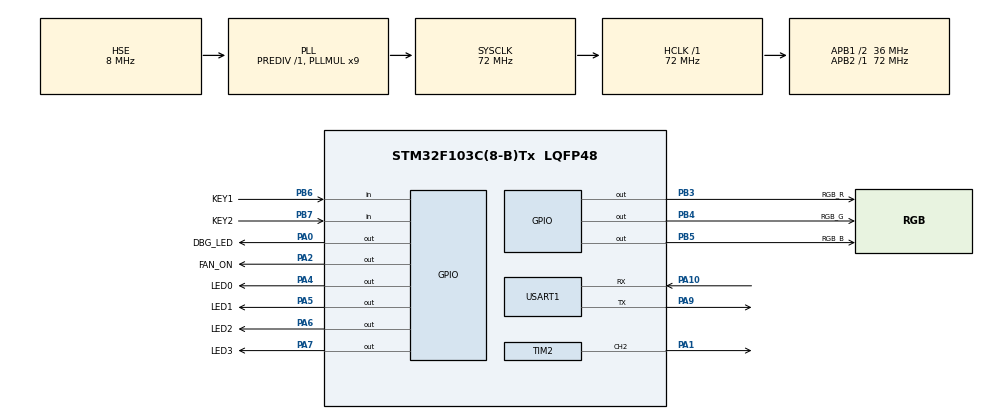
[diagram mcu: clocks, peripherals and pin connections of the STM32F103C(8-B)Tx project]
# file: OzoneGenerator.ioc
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Dma.Request0=USART1_RX
Dma.Request1=USART1_TX
Dma.USART1_RX.0.Direction=DMA_PERIPH_TO_MEMORY
Dma.USART1_RX.0.Instance=DMA1_Channel5
Dma.USART1_RX.0.MemDataAlignment=DMA_MDATAALIGN_BYTE
Dma.USART1_RX.0.MemInc=DMA_MINC_ENABLE
Dma.USART1_RX.0.Mode=DMA_CIRCULAR
Dma.USART1_RX.0.PeriphDataAlignment=DMA_PDATAALIGN_BYTE
Dma.USART1_RX.0.PeriphInc=DMA_PINC_DISABLE
Dma.USART1_RX.0.Priority=DMA_PRIORITY_LOW
Dma.USART1_TX.1.Direction=DMA_MEMORY_TO_PERIPH
Dma.USART1_TX.1.Instance=DMA1_Channel4
Dma.USART1_TX.1.MemDataAlignment=DMA_MDATAALIGN_BYTE
Dma.USART1_TX.1.MemInc=DMA_MINC_ENABLE
Dma.USART1_TX.1.Mode=DMA_NORMAL
Dma.USART1_TX.1.PeriphDataAlignment=DMA_PDATAALIGN_BYTE
Dma.USART1_TX.1.PeriphInc=DMA_PINC_DISABLE
Dma.USART1_TX.1.Priority=DMA_PRIORITY_LOW
FREERTOS.Tasks01=defaultTask,0,128,StartDefaultTask,Default,NULL,Dynamic,NULL,NULL
FREERTOS.configUSE_TIMERS=1
Mcu.Family=STM32F1
Mcu.Name=STM32F103C(8-B)Tx
Mcu.Package=LQFP48
NVIC.DMA1_Channel4_IRQn=true\:5\:0\:false\:false\:true\:true\:false\:true
NVIC.DMA1_Channel5_IRQn=true\:5\:0\:false\:false\:true\:true\:false\:true
NVIC.PriorityGroup=NVIC_PRIORITYGROUP_4
NVIC.TIM1_UP_IRQn=true\:0\:0\:false\:false\:true\:false\:false\:true
NVIC.TimeBase=TIM1_UP_IRQn
NVIC.TimeBaseIP=TIM1
NVIC.USART1_IRQn=true\:5\:0\:false\:false\:true\:true\:true\:true
PA0-WKUP.GPIO_Label=DBG_LED
PA0-WKUP.Signal=GPIO_Output
PA1.Signal=S_TIM2_CH2
PA10.Mode=Asynchronous
PA10.Signal=USART1_RX
PA13.Mode=Serial_Wire
PA13.Signal=SYS_JTMS-SWDIO
PA14.Mode=Serial_Wire
PA14.Signal=SYS_JTCK-SWCLK
PA2.GPIO_Label=FAN_ON
PA2.GPIO_PuPd=GPIO_PULLUP
PA2.Signal=GPIO_Output
PA4.GPIO_Label=LED0
PA4.GPIO_PuPd=GPIO_PULLDOWN
PA4.PinState=GPIO_PIN_SET
PA4.Signal=GPIO_Output
PA5.GPIO_Label=LED1
PA5.GPIO_PuPd=GPIO_PULLDOWN
PA5.PinState=GPIO_PIN_SET
PA5.Signal=GPIO_Output
PA6.GPIO_Label=LED2
PA6.GPIO_PuPd=GPIO_PULLDOWN
PA6.PinState=GPIO_PIN_SET
PA6.Signal=GPIO_Output
PA7.GPIO_Label=LED3
PA7.GPIO_PuPd=GPIO_PULLDOWN
PA7.PinState=GPIO_PIN_SET
PA7.Signal=GPIO_Output
PA9.Mode=Asynchronous
PA9.Signal=USART1_TX
PB3.GPIO_Label=RGB_R
PB3.GPIO_PuPd=GPIO_PULLDOWN
PB3.PinState=GPIO_PIN_SET
PB3.Signal=GPIO_Output
PB4.GPIO_Label=RGB_G
PB4.GPIO_PuPd=GPIO_PULLDOWN
PB4.PinState=GPIO_PIN_SET
PB4.Signal=GPIO_Output
PB5.GPIO_Label=RGB_B
PB5.GPIO_PuPd=GPIO_PULLDOWN
PB5.PinState=GPIO_PIN_SET
PB5.Signal=GPIO_Output
PB6.GPIO_Label=KEY1
PB6.Signal=GPIO_Input
PB7.GPIO_Label=KEY2
PB7.Signal=GPIO_Input
PD0-OSC_IN.Mode=HSE-External-Oscillator
PD0-OSC_IN.Signal=RCC_OSC_IN
PD1-OSC_OUT.Mode=HSE-External-Oscillator
PD1-OSC_OUT.Signal=RCC_OSC_OUT
ProjectManager.HeapSize=0x200
ProjectManager.StackSize=0x400
ProjectManager.TargetToolchain=MDK-ARM V5
RCC.AHBFreq_Value=72000000
RCC.APB1CLKDivider=RCC_HCLK_DIV2
RCC.APB1Freq_Value=36000000
RCC.APB1TimFreq_Value=72000000
RCC.APB2Freq_Value=72000000
RCC.APB2TimFreq_Value=72000000
RCC.HCLKFreq_Value=72000000
RCC.PLLMUL=RCC_PLL_MUL9
RCC.PLLSourceVirtual=RCC_PLLSOURCE_HSE
RCC.SYSCLKFreq_VALUE=72000000
RCC.SYSCLKSource=RCC_SYSCLKSOURCE_PLLCLK
RCC.USBFreq_Value=72000000
SH.S_TIM2_CH2.0=TIM2_CH2,PWM Generation2 CH2
TIM2.Channel-PWM\ Generation2\ CH2=TIM_CHANNEL_2
TIM2.Period=1000
TIM2.Prescaler=71
USART1.VirtualMode=VM_ASYNC
VP_FREERTOS_VS_CMSIS_V1.Mode=CMSIS_V1
VP_SYS_VS_tim1.Mode=TIM1
board=custom

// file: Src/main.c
/* USER CODE BEGIN Header */
/**
  ******************************************************************************
  * @file           : main.c
  * @brief          : Main program body
  ******************************************************************************
  * @attention
  *
  * <h2><center>&copy; Copyright (c) 2020 STMicroelectronics.
  * All rights reserved.</center></h2>
  *
  * This software component is licensed by ST under Ultimate Liberty license
  * SLA0044, the "License"; You may not use this file except in compliance with
  * the License. You may obtain a copy of the License at:
  *                             www.st.com/SLA0044
  *
  ******************************************************************************
  */
/* USER CODE END Header */

#include "main.h"
#include "cmsis_os.h"
#include "dma.h"
#include "tim.h"
#include "usart.h"
#include "gpio.h"

/* USER CODE BEGIN Includes */
#include "bsp/flash_operate.h"
#include "bsp_task.h"
#include "msg_process_task.h"
#include "system.h"
/* USER CODE END Includes */

void SystemClock_Config(void);
void MX_FREERTOS_Init(void);

int main(void)
{

  /* MCU Configuration--------------------------------------------------------*/

  /* Reset of all peripherals, Initializes the Flash interface and the Systick. */
  HAL_Init();

  /* Configure the system clock */
  SystemClock_Config();

  /* Initialize all configured peripherals */
  MX_GPIO_Init();
  MX_DMA_Init();
  MX_TIM2_Init();
  MX_USART1_UART_Init();
  /* USER CODE BEGIN 2 */
  // 初始化事件�?�线
  EventBus_init();
  MsgBus_init();
  LogBus_init();
  CmdMenu_init();
  Config_init();
  State_init();

  Flash_read();
  FlashData_t *flashData = Flash_getPointer();
  if (flashData->initialized) {
    *Config_get() = Flash_getPointer()->config;
  } else {
    Flash_getPointer()->config = *Config_get();
    Flash_flush();
  }

  BspTask_init();
  MsgProcessTask_init();
  /* USER CODE END 2 */

  /* Call init function for freertos objects (in freertos.c) */
  MX_FREERTOS_Init();
  /* Start scheduler */
  osKernelStart();

  /* We should never get here as control is now taken by the scheduler */
  /* Infinite loop */
  while (1)
  {

  }
}

void SystemClock_Config(void)
{
  RCC_OscInitTypeDef RCC_OscInitStruct = {0};
  RCC_ClkInitTypeDef RCC_ClkInitStruct = {0};

  /** Initializes the CPU, AHB and APB busses clocks
  */
  RCC_OscInitStruct.OscillatorType = RCC_OSCILLATORTYPE_HSE;
  RCC_OscInitStruct.HSEState = RCC_HSE_ON;
  RCC_OscInitStruct.HSEPredivValue = RCC_HSE_PREDIV_DIV1;
  RCC_OscInitStruct.HSIState = RCC_HSI_ON;
  RCC_OscInitStruct.PLL.PLLState = RCC_PLL_ON;
  RCC_OscInitStruct.PLL.PLLSource = RCC_PLLSOURCE_HSE;
  RCC_OscInitStruct.PLL.PLLMUL = RCC_PLL_MUL9;
  if (HAL_RCC_OscConfig(&RCC_OscInitStruct) != HAL_OK)
  {
    Error_Handler();
  }
  /** Initializes the CPU, AHB and APB busses clocks
  */
  RCC_ClkInitStruct.ClockType = RCC_CLOCKTYPE_HCLK|RCC_CLOCKTYPE_SYSCLK
                              |RCC_CLOCKTYPE_PCLK1|RCC_CLOCKTYPE_PCLK2;
  RCC_ClkInitStruct.SYSCLKSource = RCC_SYSCLKSOURCE_PLLCLK;
  RCC_ClkInitStruct.AHBCLKDivider = RCC_SYSCLK_DIV1;
  RCC_ClkInitStruct.APB1CLKDivider = RCC_HCLK_DIV2;
  RCC_ClkInitStruct.APB2CLKDivider = RCC_HCLK_DIV1;

  if (HAL_RCC_ClockConfig(&RCC_ClkInitStruct, FLASH_LATENCY_2) != HAL_OK)
  {
    Error_Handler();
  }
}

 /**
  * @brief  Period elapsed callback in non blocking mode
  * @note   This function is called  when TIM1 interrupt took place, inside
  * HAL_TIM_IRQHandler(). It makes a direct call to HAL_IncTick() to increment
  * a global variable "uwTick" used as application time base.
  * @param  htim : TIM handle
  * @retval None
  */
void HAL_TIM_PeriodElapsedCallback(TIM_HandleTypeDef *htim)
{
  if (htim->Instance == TIM1) {
    HAL_IncTick();
  }
}

void Error_Handler(void)
{
}

/************************ (C) COPYRIGHT STMicroelectronics *****END OF FILE****/

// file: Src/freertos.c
/* USER CODE BEGIN Header */
/**
  ******************************************************************************
  * File Name          : freertos.c
  * Description        : Code for freertos applications
  ******************************************************************************
  * @attention
  *
  * <h2><center>&copy; Copyright (c) 2020 STMicroelectronics.
  * All rights reserved.</center></h2>
  *
  * This software component is licensed by ST under Ultimate Liberty license
  * SLA0044, the "License"; You may not use this file except in compliance with
  * the License. You may obtain a copy of the License at:
  *                             www.st.com/SLA0044
  *
  ******************************************************************************
  */
/* USER CODE END Header */

#include "FreeRTOS.h"
#include "task.h"
#include "main.h"
#include "cmsis_os.h"

osThreadId defaultTaskHandle;

void StartDefaultTask(void const * argument);

void MX_FREERTOS_Init(void); /* (MISRA C 2004 rule 8.1) */

/* GetIdleTaskMemory prototype (linked to static allocation support) */
void vApplicationGetIdleTaskMemory( StaticTask_t **ppxIdleTaskTCBBuffer, StackType_t **ppxIdleTaskStackBuffer, uint32_t *pulIdleTaskStackSize );

/* GetTimerTaskMemory prototype (linked to static allocation support) */
void vApplicationGetTimerTaskMemory( StaticTask_t **ppxTimerTaskTCBBuffer, StackType_t **ppxTimerTaskStackBuffer, uint32_t *pulTimerTaskStackSize );

/* USER CODE BEGIN GET_IDLE_TASK_MEMORY */
static StaticTask_t xIdleTaskTCBBuffer;
static StackType_t xIdleStack[configMINIMAL_STACK_SIZE];

void vApplicationGetIdleTaskMemory( StaticTask_t **ppxIdleTaskTCBBuffer, StackType_t **ppxIdleTaskStackBuffer, uint32_t *pulIdleTaskStackSize )
{
  *ppxIdleTaskTCBBuffer = &xIdleTaskTCBBuffer;
  *ppxIdleTaskStackBuffer = &xIdleStack[0];
  *pulIdleTaskStackSize = configMINIMAL_STACK_SIZE;
  /* place for user code */
}
/* USER CODE END GET_IDLE_TASK_MEMORY */

/* USER CODE BEGIN GET_TIMER_TASK_MEMORY */
static StaticTask_t xTimerTaskTCBBuffer;
static StackType_t xTimerStack[configTIMER_TASK_STACK_DEPTH];

void vApplicationGetTimerTaskMemory( StaticTask_t **ppxTimerTaskTCBBuffer, StackType_t **ppxTimerTaskStackBuffer, uint32_t *pulTimerTaskStackSize )
{
  *ppxTimerTaskTCBBuffer = &xTimerTaskTCBBuffer;
  *ppxTimerTaskStackBuffer = &xTimerStack[0];
  *pulTimerTaskStackSize = configTIMER_TASK_STACK_DEPTH;
  /* place for user code */
}
/* USER CODE END GET_TIMER_TASK_MEMORY */

void MX_FREERTOS_Init(void) {

  /* Create the thread(s) */
  /* definition and creation of defaultTask */
  osThreadDef(defaultTask, StartDefaultTask, osPriorityNormal, 0, 128);
  defaultTaskHandle = osThreadCreate(osThread(defaultTask), NULL);

}

void StartDefaultTask(void const * argument)
{
  for(;;)
  {
    osDelay(1);
  }
}

/************************ (C) COPYRIGHT STMicroelectronics *****END OF FILE****/
